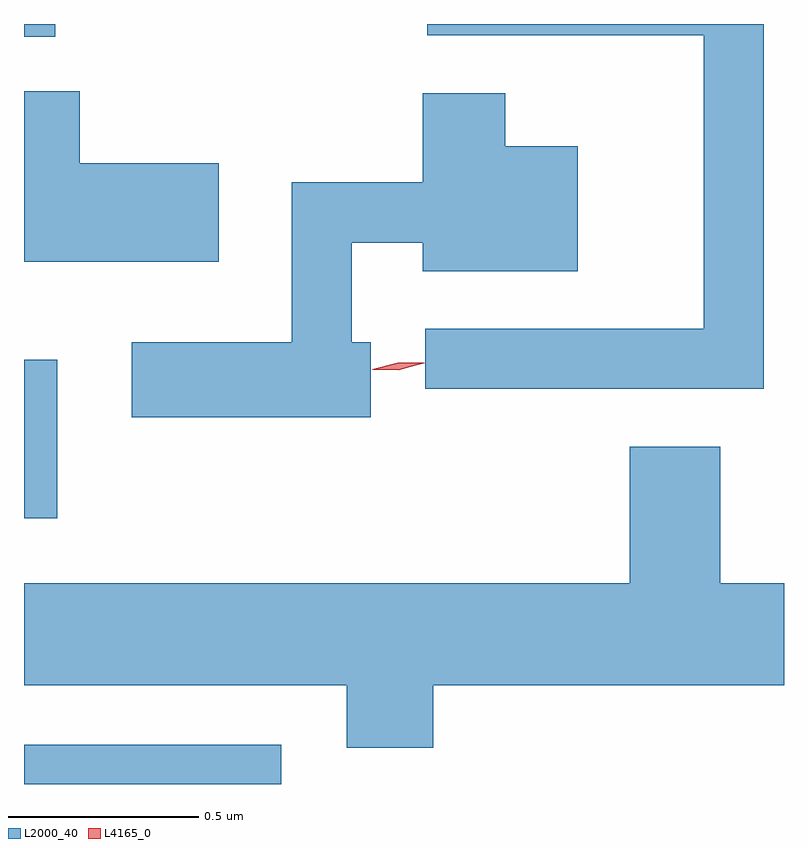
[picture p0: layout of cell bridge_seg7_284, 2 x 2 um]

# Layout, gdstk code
import gdstk
lib = gdstk.Library(unit=1e-6, precision=1e-09)
def R(c, l, rs):  # rectangles x0, y0, x1, y1
    for r in rs: c.add(gdstk.rectangle(r[:2], r[2:], *l))
def P(c, l, *ps):  # polygons
    for p in ps: c.add(gdstk.Polygon(p, *l))
L2000_40 = (2000, 40)
L4165_0 = (4165, 0)

bridge_seg7_284 = lib.new_cell('bridge_seg7_284')
R(bridge_seg7_284, L2000_40, [(1251.722,1762.896,1252.399,1762.999), (1251.722,1763.596,1251.809,1764.013), (1251.722,1764.863,1251.804,1764.896)])
P(bridge_seg7_284, L2000_40, [(1253.669,1764.896),(1252.783,1764.896),(1252.783,1764.866),(1253.511,1764.866),(1253.511,1764.094),(1252.778,1764.094),(1252.778,1763.936),(1253.669,1763.936)],
  [(1252.234,1764.529),(1251.869,1764.529),(1251.869,1764.719),(1251.722,1764.719),(1251.722,1764.271),(1252.234,1764.271)],
  [(1252.634,1764.059),(1252.584,1764.059),(1252.584,1764.321),(1252.771,1764.321),(1252.771,1764.246),(1253.179,1764.246),(1253.179,1764.574),(1252.989,1764.574),(1252.989,1764.714),(1252.771,1764.714),(1252.771,1764.479),(1252.426,1764.479),(1252.426,1764.059),(1252.006,1764.059),(1252.006,1763.861),(1252.634,1763.861)],
  [(1252.799,1763.156),(1253.722,1763.156),(1253.722,1763.424),(1253.554,1763.424),(1253.554,1763.784),(1253.316,1763.784),(1253.316,1763.424),(1251.722,1763.424),(1251.722,1763.156),(1252.571,1763.156),(1252.571,1762.991),(1252.799,1762.991)])
P(bridge_seg7_284, L4165_0, [(1252.707,1763.986),(1252.638,1763.987),(1252.637,1763.988),(1252.638,1763.988),(1252.705,1764.005),(1252.775,1764.004),(1252.775,1764.003),(1252.775,1764.003)],
  [(1252.707,1763.985),(1252.64,1763.986),(1252.639,1763.987),(1252.64,1763.987),(1252.705,1764.005),(1252.772,1764.004),(1252.772,1764.003),(1252.772,1764.003)])

lib.write_gds('bridge_seg7_284.gds')
